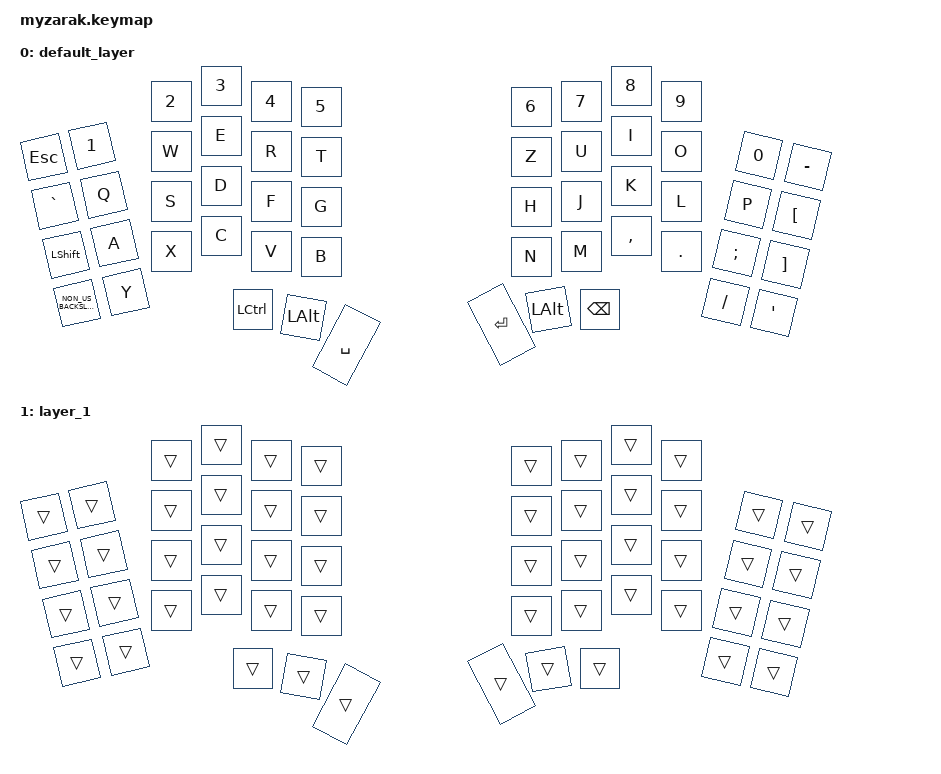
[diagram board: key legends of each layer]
// This file was generated from a template. Edit it to match your keyboard.
// See https://zmk.dev/docs/development/hardware-integration/new-shield for more instructions.

#include <behaviors.dtsi>
#include <dt-bindings/zmk/keys.h>

/ {
    // Define a default keymap here.
    // See https://zmk.dev/docs/development/hardware-integration/new-shield#default-keymap.

    keymap {
        compatible = "zmk,keymap";

        default_layer {
            bindings = <
&kp ESCAPE            &kp NUMBER_1  &kp NUMBER_2  &kp NUMBER_3  &kp NUMBER_4  &kp N5    &kp NUMBER_6  &kp N7  &kp N8     &kp N9      &kp N0         &kp MINUS
&kp GRAVE             &kp Q         &kp W         &kp E         &kp R         &kp T     &kp Z         &kp U   &kp I      &kp O       &kp P          &kp LEFT_BRACKET
&kp LEFT_SHIFT        &kp A         &kp S         &kp D         &kp F         &kp G     &kp H         &kp J   &kp K      &kp L       &kp SEMICOLON  &kp RIGHT_BRACKET
&kp NON_US_BACKSLASH  &kp Y         &kp X         &kp C         &kp V         &kp B     &kp N         &kp M   &kp COMMA  &kp PERIOD  &kp SLASH      &kp SQT
&kp LEFT_CONTROL      &kp LEFT_ALT  &kp SPACE     &kp RET       &kp LALT      &kp BSPC
            >;
        };

        layer_1 {
            bindings = <
&trans  &trans  &trans  &trans  &trans  &trans  &trans  &trans  &trans  &trans  &trans  &trans
&trans  &trans  &trans  &trans  &trans  &trans  &trans  &trans  &trans  &trans  &trans  &trans
&trans  &trans  &trans  &trans  &trans  &trans  &trans  &trans  &trans  &trans  &trans  &trans
&trans  &trans  &trans  &trans  &trans  &trans  &trans  &trans  &trans  &trans  &trans  &trans
&trans  &trans  &trans  &trans  &trans  &trans
            >;
        };
    };
};
